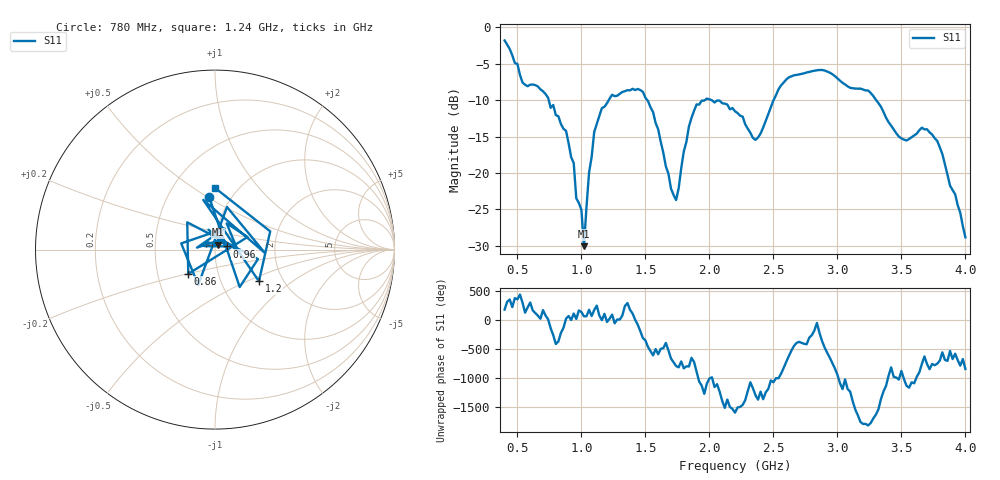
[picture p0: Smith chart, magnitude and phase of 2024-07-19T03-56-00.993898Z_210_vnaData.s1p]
!Created with skrf (http://scikit-rf.org).
# Hz S RI R 50.0
!freq ReS11 ImS11
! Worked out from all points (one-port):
!   181 points, 400 MHz to 4 GHz, reference 50 ohm
!   lowest |S11| = -30.0 dB at 1.02 GHz (marker M1), VSWR 1.06, Z = 51.5 + j2.83 ohm
!   |S11| at or under -10 dB: 744.8 MHz to 1.213 GHz (468.5 MHz wide, 47.9 % of centre); 2.019 GHz to 2.501 GHz (482.3 MHz wide, 21.3 % of centre); 3.303 GHz to end of sweep (the widest 3 of 4)
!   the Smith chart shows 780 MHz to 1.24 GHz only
!   S11 on the Smith chart (normalised r, x): 780 MHz: 0.80, +0.51; 860 MHz: 0.72, -0.20; 960 MHz: 1.14, +0.04; 1.2 GHz: 1.51, -0.59; 1.24 GHz: 0.79, +0.61
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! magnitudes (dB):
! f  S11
! 400 MHz  -1.8
! 540 MHz  -7.6
! 780 MHz  -10.7
! 860 MHz  -13.9
! 940 MHz  -18.6
! 960 MHz  -23.5
! 1 GHz  -25.1
! 1.02 GHz  -30.0
! 1.06 GHz  -19.9
! 1.1 GHz  -14.4
! 1.2 GHz  -10.4
! 1.24 GHz  -9.3
! 1.3 GHz  -9.1
! 1.48 GHz  -8.8
! 1.6 GHz  -14.0
! 1.7 GHz  -22.2
! 1.76 GHz  -22.1
! 1.84 GHz  -13.6
! 1.9 GHz  -10.6
! 2.2 GHz  -11.5
! 2.36 GHz  -15.5
! 2.66 GHz  -6.6
! 3.1 GHz  -8.3
! 3.24 GHz  -8.7
! 3.56 GHz  -15.3
! 3.66 GHz  -13.8
! 3.78 GHz  -15.6
! 4 GHz  -28.8
